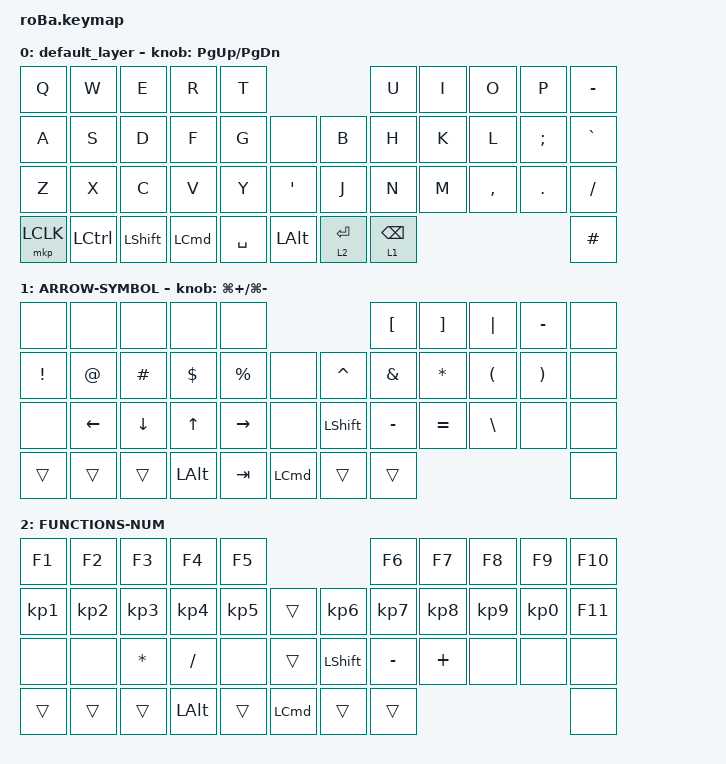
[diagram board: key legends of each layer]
#include <behaviors.dtsi>
#include <dt-bindings/zmk/keys.h>
#include <dt-bindings/zmk/pointing.h>

#define MOUSE 4
#define SCROLL 5
#define NUM 6

&mt {
    flavor = "balanced";
    quick-tap-ms = <0>;
};

/ {
    combos {
        compatible = "zmk,combos";

        esc {
            bindings = <&kp ESC>;
            key-positions = <0 1>;
        };

        desktop {
            bindings = <&kp LA(LC(D))>;
            key-positions = <19 20>;
        };

        right-click {
            bindings = <&mkp RCLK>;
            key-positions = <34 35>;
        };

        screen_shot {
            bindings = <&kp LG(LC(NUMBER_4))>;
            key-positions = <31 32>;
        };

        f12 {
            bindings = <&kp F12>;
            key-positions = <7 8>;
        };
    };

    macros {
        to_layer_0: to_layer_0 {
            compatible = "zmk,behavior-macro-one-param";
            #binding-cells = <1>;
            bindings = <&to 0 &macro_param_1to1 &kp MACRO_PLACEHOLDER>;
            label = "TO_LAYER_0";
        };
    };

    behaviors {
        lt_to_layer_0: lt_to_layer_0 {
            compatible = "zmk,behavior-hold-tap";
            label = "LAYER_TAP_TO_0";
            bindings = <&mo>, <&to_layer_0>;

            #binding-cells = <2>;
            tapping-term-ms = <200>;
        };
    };

    keymap {
        compatible = "zmk,keymap";

        default_layer {
            bindings = <
&kp Q      &kp W             &kp E           &kp R             &kp T                                     &kp U            &kp I  &kp O      &kp P          &kp MINUS
&kp A      &kp S             &kp D           &kp F             &kp G      &none             &kp B        &kp H            &kp K  &kp L      &kp SEMICOLON  &kp GRAVE
&kp Z      &kp X             &kp C           &kp V             &kp Y      &kp SQT           &kp J        &kp N            &kp M  &kp COMMA  &kp PERIOD     &kp SLASH
&mkp LCLK  &kp LEFT_CONTROL  &kp LEFT_SHIFT  &kp LEFT_COMMAND  &kp SPACE  &kp LEFT_ALT      &lt 2 ENTER  &lt 1 BACKSPACE                                   &kp POUND
            >;

            sensor-bindings = <&inc_dec_kp PG_UP PAGE_DOWN>;
        };

        ARROW-SYMBOL {
            bindings = <
&none     &none           &none           &none         &none                                                  &kp LEFT_BRACKET  &kp RIGHT_BRACKET  &kp PIPE              &kp MINUS              &none
&kp EXCL  &kp AT_SIGN     &kp HASH        &kp DOLLAR    &kp PERCENT      &none                 &kp CARET       &kp AMPERSAND     &kp ASTERISK       &kp LEFT_PARENTHESIS  &kp RIGHT_PARENTHESIS  &none
&none     &kp LEFT_ARROW  &kp DOWN_ARROW  &kp UP_ARROW  &kp RIGHT_ARROW  &none                 &kp LEFT_SHIFT  &kp MINUS         &kp EQUAL          &kp BACKSLASH         &none                  &none
&trans    &trans          &trans          &kp LEFT_ALT  &kp TAB          &kp LEFT_COMMAND      &trans          &trans                                                                            &none
            >;

            sensor-bindings = <&inc_dec_kp LG(PLUS) LG(MINUS)>;
        };

        FUNCTIONS-NUM {
            bindings = <
&kp F1           &kp F2           &kp F3           &kp F4           &kp F5                                                  &kp F6           &kp F7     &kp F8           &kp F9           &kp F10
&kp KP_NUMBER_1  &kp KP_NUMBER_2  &kp KP_NUMBER_3  &kp KP_NUMBER_4  &kp KP_NUMBER_5  &trans                &kp KP_NUMBER_6  &kp KP_NUMBER_7  &kp KP_N8  &kp KP_NUMBER_9  &kp KP_NUMBER_0  &kp F11
&none            &none            &kp ASTERISK     &kp SLASH        &none            &trans                &kp LEFT_SHIFT   &kp MINUS        &kp PLUS   &none            &none            &none
&trans           &trans           &trans           &kp LEFT_ALT     &trans           &kp LEFT_COMMAND      &trans           &trans                                                        &none
            >;
        };
    };
};
